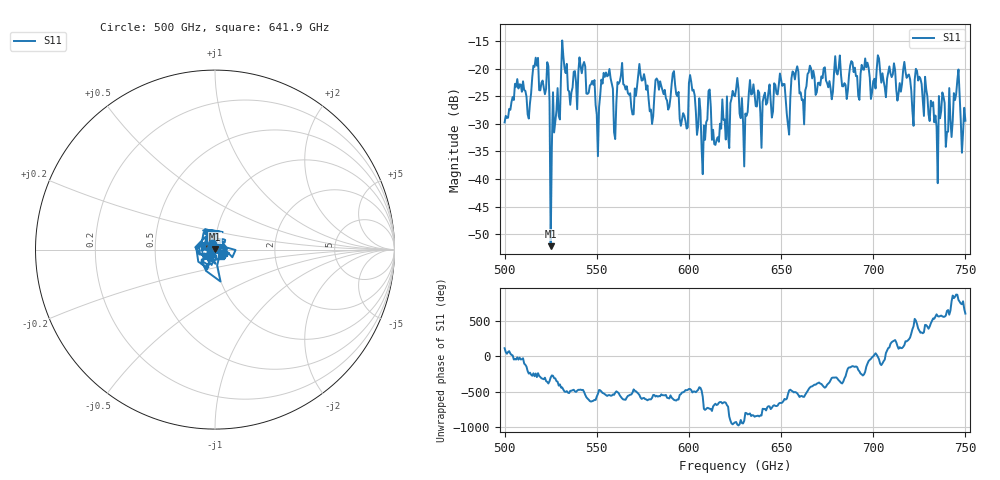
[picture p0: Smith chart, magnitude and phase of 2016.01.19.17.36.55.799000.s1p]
!Created with skrf (http://scikit-rf.org).
# GHz S RI R 50.0
!freq ReS11 ImS11
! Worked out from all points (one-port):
!   401 points, 500 GHz to 750 GHz, reference 50 ohm
!   lowest |S11| = -52.2 dB at 525 GHz (marker M1), VSWR 1.00, Z = 50.1 + j0.216 ohm
!   |S11| at or under -10 dB: start of sweep to end of sweep
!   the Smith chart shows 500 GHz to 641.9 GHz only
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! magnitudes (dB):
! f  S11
! 500 GHz  -29.7
! 513.1 GHz  -29.0
! 516.9 GHz  -18.0
! 523.1 GHz  -18.8
! 525 GHz  -52.2
! 526.2 GHz  -24.3
! 531.2 GHz  -14.9
! 541.9 GHz  -20.8
! 550.6 GHz  -35.9
! 553.8 GHz  -20.7
! 562.5 GHz  -22.3
! 593.8 GHz  -25.0
! 598.1 GHz  -29.5
! 601.2 GHz  -22.4
! 607.5 GHz  -39.1
! 610.6 GHz  -24.1
! 615 GHz  -32.9
! 625 GHz  -25.0
! 630.6 GHz  -28.1
! 633.8 GHz  -24.7
! 650.6 GHz  -23.1
! 653.8 GHz  -30.2
! 656.2 GHz  -20.5
! 687.5 GHz  -19.4
! 718.8 GHz  -21.2
! 733.8 GHz  -28.5
! 745 GHz  -24.6
! 750 GHz  -29.4
